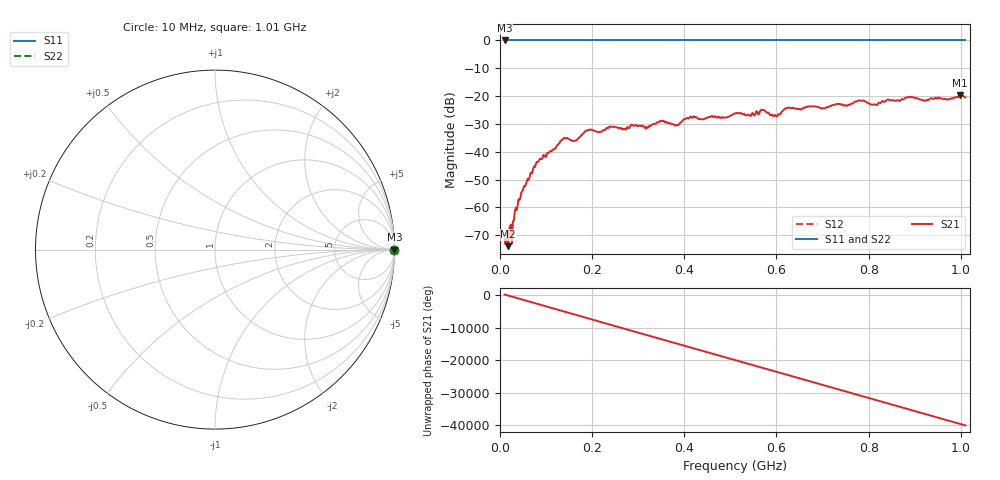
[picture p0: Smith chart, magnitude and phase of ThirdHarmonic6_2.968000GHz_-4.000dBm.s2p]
! 8/17/2025 8:23:36 AM
! C:\ANRITSUVNA\TEMP\TEMP.S2P
! CHANNEL.1
! TR.MEASUREMENT
! RAW.DATA
! RF.CORRECTION.OFF
! AVERAGING.OFF
! IF.BANDWIDTH: 5KHZ
! SWEEPTYPE:  FREQ.SWEEP(Linear)
! Reference Plane Port Info
! PORT:  PORT1  PORT2
! DISTANCE:  0  m  0  m
! TIME:  0  s  0  s
! PHASE.OFFSET:  0  deg.  0  deg.
! LOSS:  0  dB  0  dB
! REF.LOSS:  0  dB  0  dB
! REF.FREQ:  0  Hz  0  Hz
! Power Info
! POWER:  -20  dBm  -20  dBm
! EFF.POWER:  -20  dBm  -20  dBm
! SOURCE.ATTEN:  0  dB  0  dB
! TEST.ATTEN:  0  dB  0  dB
# GHZ S RI R 50.0
! FREQ.GHZ  S11RE  S11IM  S21RE  S21IM  S12RE  S12IM  S22RE  S22IM
!; PortSelection: Port_12
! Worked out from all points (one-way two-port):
!   501 points, 10 MHz to 1.01 GHz, reference 50 ohm
!   highest |S21| = -19.73 dB at 998 MHz (marker M1); lowest = -73.9 dB at 18 MHz (marker M2)
!   lowest |S11| = 0.0 dB at 10 MHz (marker M3)
!   |S11| at or under -10 dB: nowhere
!   |S22| runs from 0.0 to 0.0 dB; largest |S21 - S12| = 1.1
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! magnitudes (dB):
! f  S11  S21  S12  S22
! 10 MHz  0.0  -71.1  0.0  0.0
! 18 MHz  0.0  -73.9  0.0  0.0
! 22 MHz  0.0  -66.6  0.0  0.0
! 36 MHz  0.0  -60.9  0.0  0.0
! 50 MHz  0.0  -53.6  0.0  0.0
! 82 MHz  0.0  -43.7  0.0  0.0
! 136 MHz  0.0  -35.6  0.0  0.0
! 162 MHz  0.0  -36.0  0.0  0.0
! 178 MHz  0.0  -33.9  0.0  0.0
! 194 MHz  0.0  -32.1  0.0  0.0
! 318 MHz  0.0  -31.1  0.0  0.0
! 344 MHz  0.0  -29.4  0.0  0.0
! 384 MHz  0.0  -30.3  0.0  0.0
! 410 MHz  0.0  -28.0  0.0  0.0
! 510 MHz  0.0  -26.2  0.0  0.0
! 570 MHz  0.0  -25.0  0.0  0.0
! 598 MHz  0.0  -27.0  0.0  0.0
! 622 MHz  0.0  -24.3  0.0  0.0
! 678 MHz  0.0  -23.6  0.0  0.0
! 844 MHz  0.0  -21.3  0.0  0.0
! 998 MHz  0.0  -19.7  0.0  0.0
! 1.01 GHz  0.0  -20.5  0.0  0.0
